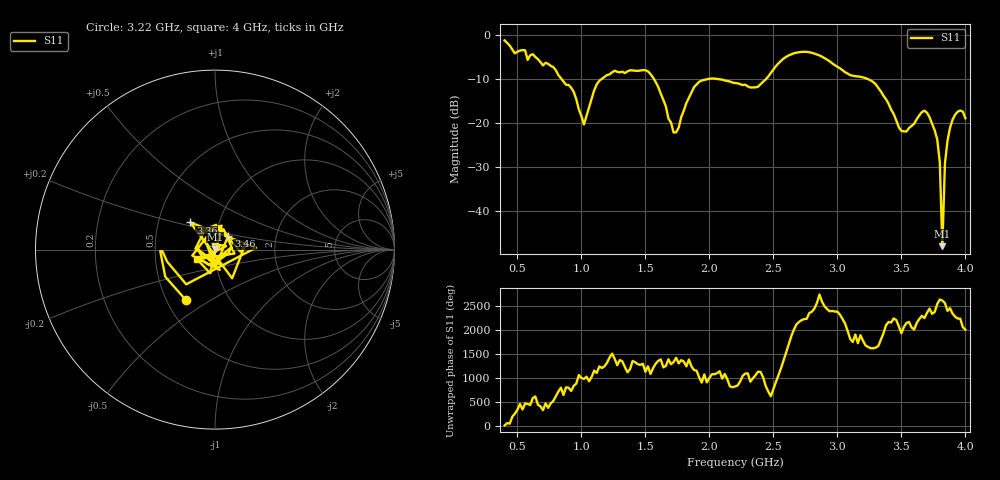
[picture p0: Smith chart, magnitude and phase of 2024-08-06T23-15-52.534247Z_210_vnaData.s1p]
!Created with skrf (http://scikit-rf.org).
# Hz S RI R 50.0
!freq ReS11 ImS11
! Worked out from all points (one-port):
!   181 points, 400 MHz to 4 GHz, reference 50 ohm
!   lowest |S11| = -48.0 dB at 3.82 GHz (marker M1), VSWR 1.01, Z = 50 + j0.396 ohm
!   |S11| at or under -10 dB: 1.567 GHz to 1.986 GHz (419.5 MHz wide, 23.6 % of centre); 2.069 GHz to 2.442 GHz (373.5 MHz wide, 16.6 % of centre); 3.239 GHz to end of sweep (the widest 3 of 4)
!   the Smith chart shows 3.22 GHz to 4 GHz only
!   S11 on the Smith chart (normalised r, x): 3.22 GHz: 0.63, -0.39; 3.36 GHz: 0.73, +0.23; 3.46 GHz: 1.14, +0.18; 4 GHz: 0.81, -0.09
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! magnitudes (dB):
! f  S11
! 400 MHz  -1.2
! 860 MHz  -10.6
! 940 MHz  -12.9
! 1.02 GHz  -20.3
! 1.12 GHz  -11.2
! 1.3 GHz  -8.5
! 1.52 GHz  -8.3
! 1.6 GHz  -11.8
! 1.72 GHz  -22.2
! 1.76 GHz  -21.1
! 1.92 GHz  -10.6
! 2.2 GHz  -10.9
! 2.38 GHz  -11.7
! 2.66 GHz  -4.1
! 2.86 GHz  -4.6
! 3.1 GHz  -9.1
! 3.22 GHz  -9.8
! 3.36 GHz  -13.8
! 3.46 GHz  -19.4
! 3.56 GHz  -21.1
! 3.68 GHz  -17.2
! 3.76 GHz  -21.7
! 3.8 GHz  -28.9
! 3.82 GHz  -48.0
! 3.84 GHz  -29.3
! 3.86 GHz  -24.1
! 3.92 GHz  -18.1
! 4 GHz  -18.9
